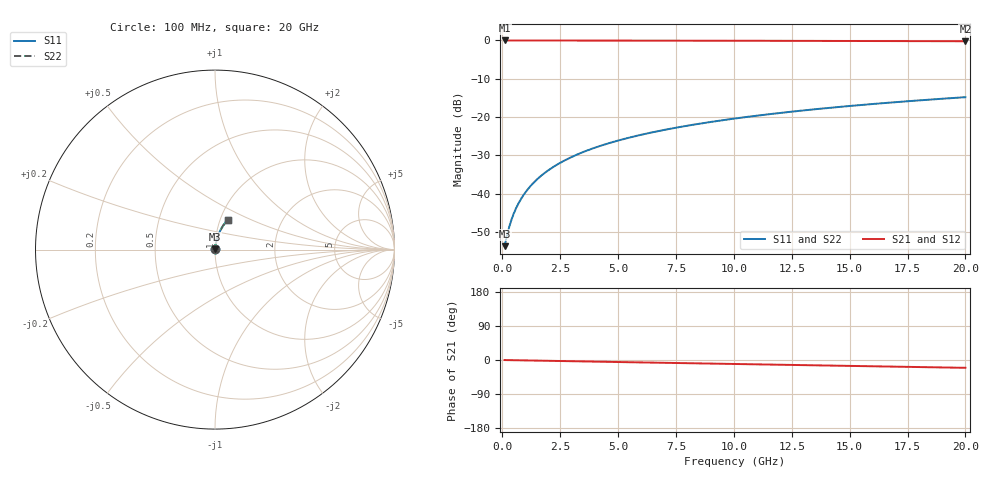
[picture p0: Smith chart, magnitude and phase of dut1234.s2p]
! Touchstone file exported from HFSS 2026.1.0
!  File:  C:/ffzhzh/LocalFiles/Ansys_Project_Files/temp_train_TMRDL_1234_1783163529_43440.aedt
!  Generated:  07:13:20 PM Jul  4, 2026
!  Design:  TMRDL
!  Project:  temp_train_TMRDL_1234_1783163529_43440
! Variables:
!  h_bsmrdl = 2um
!  h_ox = 20um
!  h_rdl = 5um
!  h_sub = 80um
!  h_tmrdl = 5.33um
!  h_tsv = 80um
!  h_via = 3um
!  l_bsmrdl = 300um
!  l_sub = 707.24um
!  l_tmrdl = 307.24um
!  m_sub = 200um
!  pitch = 28.55um
!  r_tsv = 6um
!  s_tmrdl = 10um
!  w_bsmrdl = 18um
!  w_sub = 500um
!  w_tmrdl = 12.36um
!  x_tsv_center1 = 313.42um
!  x_tsv_center2 = 631.42um
!  x_tsv_center3 = 951.02um
!  x_tsv_center4 = 1269.02um
!  x_tsv_center5 = 1588.62um
!  x_tsv_center6 = 1906.62um
# GHz S MA R 50.000000
! Terminal data exported
! Port[1] = TM_RDL1_1_T1
! Port[2] = TM_RDL1_1_T2
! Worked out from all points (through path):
!   200 points, 100 MHz to 20 GHz, reference 50 ohm
!   highest |S21| = -0.02 dB at 100 MHz (marker M1); lowest = -0.2 dB at 20 GHz (marker M2)
!   group delay of S21, straight-line fit = 2.86 ps
!   lowest |S11| = -53.7 dB at 100 MHz (marker M3), VSWR 1.00, Z = 50.2 + j0.11 ohm
!   |S11| at or under -10 dB: start of sweep to end of sweep
!   |S22| runs from -53.7 to -14.8 dB; largest |S21 - S12| = 5.3e-15
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0.1  0.002065 32.0  0.9983 -0.1  0.9983 -0.1  0.002065 32.0
! Gamma 0 0 0 0
! Port Impedance 50 0 50 0
0.2  0.002819 49.8  0.9982 -0.2  0.9982 -0.2  0.002819 49.8
0.3  0.003696 59.3  0.9981 -0.3  0.9981 -0.3  0.003696 59.3
0.4  0.004615 65.0  0.9981 -0.4  0.9981 -0.4  0.004615 65.0
0.5  0.005556 68.8  0.998 -0.6  0.998 -0.6  0.005556 68.8
0.6  0.006511 71.5  0.998 -0.7  0.998 -0.7  0.006511 71.5
0.8  0.008451 75.1  0.9979 -0.9  0.9979 -0.9  0.008451 75.1
1.1  0.0114 78.0  0.9978 -1.2  0.9978 -1.2  0.0114 78.0
1.3  0.01338 79.2  0.9977 -1.4  0.9977 -1.4  0.01338 79.2
1.6  0.01636 80.2  0.9976 -1.7  0.9976 -1.7  0.01636 80.2
2.1  0.02131 81.1  0.9973 -2.3  0.9973 -2.3  0.02131 81.1
2.7  0.02722 81.3  0.9969 -2.9  0.9969 -2.9  0.02722 81.3
3.5  0.035 81.1  0.9963 -3.8  0.9963 -3.8  0.035 81.1
4.2  0.04173 80.7  0.9957 -4.5  0.9957 -4.5  0.04173 80.7
5  0.04933 80.2  0.9949 -5.3  0.9949 -5.3  0.04933 80.2
5.9  0.05777 79.5  0.994 -6.3  0.994 -6.3  0.05777 79.5
6.8  0.06613 78.7  0.9931 -7.2  0.9931 -7.2  0.06613 78.7
8.3  0.07989 77.4  0.9915 -8.8  0.9915 -8.8  0.07989 77.4
10.1  0.09617 75.9  0.9895 -10.6  0.9895 -10.6  0.09617 75.9
13.4  0.1254 72.9  0.9853 -14.0  0.9853 -14.0  0.1254 72.9
16.7  0.1539 69.9  0.9805 -17.3  0.9805 -17.3  0.1539 69.9
20  0.1815 66.8  0.9752 -20.6  0.9752 -20.6  0.1816 66.8
